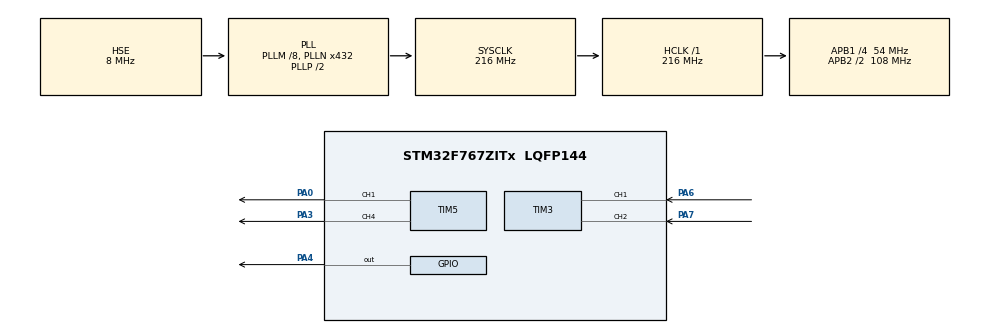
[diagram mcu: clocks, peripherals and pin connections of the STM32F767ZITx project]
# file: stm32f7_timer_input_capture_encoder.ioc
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Dma.Request0=TIM5_CH1
Dma.Request1=TIM5_CH4/TRIG
Dma.TIM5_CH1.0.Direction=DMA_MEMORY_TO_PERIPH
Dma.TIM5_CH1.0.FIFOMode=DMA_FIFOMODE_ENABLE
Dma.TIM5_CH1.0.FIFOThreshold=DMA_FIFO_THRESHOLD_FULL
Dma.TIM5_CH1.0.Instance=DMA1_Stream2
Dma.TIM5_CH1.0.MemBurst=DMA_MBURST_SINGLE
Dma.TIM5_CH1.0.MemDataAlignment=DMA_MDATAALIGN_WORD
Dma.TIM5_CH1.0.MemInc=DMA_MINC_ENABLE
Dma.TIM5_CH1.0.Mode=DMA_CIRCULAR
Dma.TIM5_CH1.0.PeriphBurst=DMA_PBURST_SINGLE
Dma.TIM5_CH1.0.PeriphDataAlignment=DMA_PDATAALIGN_WORD
Dma.TIM5_CH1.0.PeriphInc=DMA_PINC_DISABLE
Dma.TIM5_CH1.0.Priority=DMA_PRIORITY_MEDIUM
Dma.TIM5_CH4/TRIG.1.Direction=DMA_MEMORY_TO_PERIPH
Dma.TIM5_CH4/TRIG.1.FIFOMode=DMA_FIFOMODE_ENABLE
Dma.TIM5_CH4/TRIG.1.FIFOThreshold=DMA_FIFO_THRESHOLD_FULL
Dma.TIM5_CH4/TRIG.1.Instance=DMA1_Stream1
Dma.TIM5_CH4/TRIG.1.MemBurst=DMA_MBURST_SINGLE
Dma.TIM5_CH4/TRIG.1.MemDataAlignment=DMA_MDATAALIGN_WORD
Dma.TIM5_CH4/TRIG.1.MemInc=DMA_MINC_ENABLE
Dma.TIM5_CH4/TRIG.1.Mode=DMA_CIRCULAR
Dma.TIM5_CH4/TRIG.1.PeriphBurst=DMA_PBURST_SINGLE
Dma.TIM5_CH4/TRIG.1.PeriphDataAlignment=DMA_PDATAALIGN_WORD
Dma.TIM5_CH4/TRIG.1.PeriphInc=DMA_PINC_DISABLE
Dma.TIM5_CH4/TRIG.1.Priority=DMA_PRIORITY_MEDIUM
Mcu.Family=STM32F7
Mcu.Name=STM32F767ZITx
Mcu.Package=LQFP144
NVIC.DMA1_Stream1_IRQn=true\:0\:0\:false\:false\:true\:false\:true\:true
NVIC.DMA1_Stream2_IRQn=true\:0\:0\:false\:false\:true\:false\:true\:true
NVIC.PriorityGroup=NVIC_PRIORITYGROUP_4
NVIC.TIM6_DAC_IRQn=true\:0\:0\:false\:false\:true\:true\:true\:true
PA0/WKUP.Signal=S_TIM5_CH1
PA3.Signal=S_TIM5_CH4
PA4.Signal=GPIO_Output
PA6.Signal=S_TIM3_CH1
PA7.Signal=S_TIM3_CH2
PH0/OSC_IN.Mode=HSE-External-Clock-Source
PH0/OSC_IN.Signal=RCC_OSC_IN
PH1/OSC_OUT.Mode=HSE-External-Clock-Source
PH1/OSC_OUT.Signal=RCC_OSC_OUT
ProjectManager.HeapSize=0x200
ProjectManager.StackSize=0x400
ProjectManager.TargetToolchain=Makefile
RCC.48MHZClocksFreq_Value=24000000
RCC.AHBFreq_Value=216000000
RCC.APB1CLKDivider=RCC_HCLK_DIV4
RCC.APB1Freq_Value=54000000
RCC.APB1TimFreq_Value=108000000
RCC.APB2CLKDivider=RCC_HCLK_DIV2
RCC.APB2Freq_Value=108000000
RCC.APB2TimFreq_Value=216000000
RCC.CortexFreq_Value=216000000
RCC.HCLKFreq_Value=216000000
RCC.HSE_VALUE=8000000
RCC.HSI_VALUE=16000000
RCC.LSE_VALUE=32768
RCC.PLLM=8
RCC.PLLMUL=RCC_PLL_MUL9
RCC.PLLN=432
RCC.PLLSourceVirtual=RCC_PLLSOURCE_HSE
RCC.PRESCALERUSB=RCC_USBCLKSOURCE_PLL_DIV1_5
RCC.SYSCLKFreq_VALUE=216000000
RCC.SYSCLKSource=RCC_SYSCLKSOURCE_PLLCLK
RCC.SYSCLKSourceVirtual=RCC_SYSCLKSOURCE_PLLCLK
RCC.USBFreq_Value=216000000
RCC.VCOOutputFreq_Value=432000000
SH.S_TIM3_CH1.0=TIM3_CH1,Encoder_Interface
SH.S_TIM3_CH2.0=TIM3_CH2,Encoder_Interface
SH.S_TIM5_CH1.0=TIM5_CH1,Output Compare1 CH1
SH.S_TIM5_CH4.0=TIM5_CH4,Output Compare4 CH4
TIM3.EncoderMode=TIM_ENCODERMODE_TI1
TIM5.Channel-Output\ Compare1\ CH1=TIM_CHANNEL_1
TIM5.Channel-Output\ Compare4\ CH4=TIM_CHANNEL_4
TIM5.OCMode_1=TIM_OCMODE_TOGGLE
TIM5.OCMode_4=TIM_OCMODE_TOGGLE
TIM6.Period=2621
TIM6.Prescaler=10799
VP_TIM5_VS_ClockSourceINT.Mode=Internal
VP_TIM6_VS_ClockSourceINT.Mode=Enable_Timer
board=NUCLEO-F767ZI

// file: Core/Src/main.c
/* USER CODE BEGIN Header */
/**
 ******************************************************************************
 * @file           : main.c
 * @brief          : Main program body
 ******************************************************************************
 * @attention
 *
 * Copyright (c) 2024 STMicroelectronics.
 * All rights reserved.
 *
 * This software is licensed under terms that can be found in the LICENSE file
 * in the root directory of this software component.
 * If no LICENSE file comes with this software, it is provided AS-IS.
 *
 ******************************************************************************
 */
/* USER CODE END Header */
#include "main.h"

/* USER CODE BEGIN PD */
#define BUFFER_SIZE 32
#define APB1_CLOCK 108000000 // Running frequency of timer at APB1
#define OC_CH_FREQ 20000     // unit: Hz
#define FULL_COUNTER 65535   // used in encoder counting
#define HALF_COUNTER 32767   // used in encoder counting
#define TOTAL_PULSES 262144  // 196608  // 131072

/* USER CODE END PD */

TIM_HandleTypeDef htim3;
TIM_HandleTypeDef htim5;
TIM_HandleTypeDef htim6;
DMA_HandleTypeDef hdma_tim5_ch1;
DMA_HandleTypeDef hdma_tim5_ch4_trig;

/* USER CODE BEGIN PV */
uint32_t channelFreq = 0; // pulse increment to toggle output signal

// Double Buffer Space
uint32_t pMem0DataCh1[BUFFER_SIZE];
uint32_t pMem1DataCh1[BUFFER_SIZE];
uint32_t pMem0DataCh4[BUFFER_SIZE];
uint32_t pMem1DataCh4[BUFFER_SIZE];

volatile uint16_t prevCounter = 0;
volatile int16_t revolution = 0;
int32_t counter = 0;

volatile uint32_t pulseGenerated = 0;

/* USER CODE END PV */

void SystemClock_Config(void);
static void MX_GPIO_Init(void);
static void MX_DMA_Init(void);
static void MX_TIM3_Init(void);
static void MX_TIM5_Init(void);
static void MX_TIM6_Init(void);
/* USER CODE BEGIN PFP */
uint32_t computePulse(uint32_t freq);
void updateBuffer(uint32_t *buffer, uint16_t start_index, uint32_t start_value, uint32_t increment, size_t length);
/* USER CODE END PFP */

int main(void)
{

  /* MCU Configuration--------------------------------------------------------*/

  /* Reset of all peripherals, Initializes the Flash interface and the Systick. */
  HAL_Init();

  /* Configure the system clock */
  SystemClock_Config();

  /* Initialize all configured peripherals */
  MX_GPIO_Init();
  MX_DMA_Init();
  MX_TIM3_Init();
  MX_TIM5_Init();
  MX_TIM6_Init();
  /* USER CODE BEGIN 2 */
  channelFreq = computePulse((uint32_t)OC_CH_FREQ);
  updateBuffer(pMem0DataCh1, 0, channelFreq + channelFreq / 2, channelFreq, BUFFER_SIZE);
  updateBuffer(pMem1DataCh1, 0, pMem0DataCh1[BUFFER_SIZE - 1] + channelFreq, channelFreq, BUFFER_SIZE);
  updateBuffer(pMem0DataCh4, 0, channelFreq, channelFreq, BUFFER_SIZE);
  updateBuffer(pMem1DataCh4, 0, pMem0DataCh4[BUFFER_SIZE - 1] + channelFreq, channelFreq, BUFFER_SIZE);

  // TIM5 used to generate pulse signals at channel 1 and 4
  TIM_OC_Start_DMA_Double_Buffer(&htim5, TIM_CHANNEL_1, (uint32_t)pMem0DataCh1, (uint32_t)&htim5.Instance->CCR1, (uint32_t)pMem1DataCh1, BUFFER_SIZE);
  TIM_OC_Start_DMA_Double_Buffer(&htim5, TIM_CHANNEL_4, (uint32_t)pMem0DataCh4, (uint32_t)&htim5.Instance->CCR4, (uint32_t)pMem1DataCh4, BUFFER_SIZE);
  HAL_TIM_Base_Start_IT(&htim6); // Timer 6 in polling mode
  HAL_TIM_Encoder_Start(&htim3, TIM_CHANNEL_ALL);

  // Reset counter, CNT, as 0
  __HAL_TIM_SET_COUNTER(&htim3, 0);
  __HAL_TIM_SET_COUNTER(&htim5, 0);
  __HAL_TIM_SET_COUNTER(&htim6, 0);

  /* USER CODE END 2 */

  /* Infinite loop */
  while (1)
  {

  }
}

void SystemClock_Config(void)
{
  RCC_OscInitTypeDef RCC_OscInitStruct = {0};
  RCC_ClkInitTypeDef RCC_ClkInitStruct = {0};

  /** Configure the main internal regulator output voltage
   */
  __HAL_RCC_PWR_CLK_ENABLE();
  __HAL_PWR_VOLTAGESCALING_CONFIG(PWR_REGULATOR_VOLTAGE_SCALE1);

  /** Initializes the RCC Oscillators according to the specified parameters
   * in the RCC_OscInitTypeDef structure.
   */
  RCC_OscInitStruct.OscillatorType = RCC_OSCILLATORTYPE_HSE;
  RCC_OscInitStruct.HSEState = RCC_HSE_BYPASS;
  RCC_OscInitStruct.PLL.PLLState = RCC_PLL_ON;
  RCC_OscInitStruct.PLL.PLLSource = RCC_PLLSOURCE_HSE;
  RCC_OscInitStruct.PLL.PLLM = 8;
  RCC_OscInitStruct.PLL.PLLN = 432;
  RCC_OscInitStruct.PLL.PLLP = RCC_PLLP_DIV2;
  RCC_OscInitStruct.PLL.PLLQ = 2;
  RCC_OscInitStruct.PLL.PLLR = 2;
  if (HAL_RCC_OscConfig(&RCC_OscInitStruct) != HAL_OK)
  {
    Error_Handler();
  }

  /** Activate the Over-Drive mode
   */
  if (HAL_PWREx_EnableOverDrive() != HAL_OK)
  {
    Error_Handler();
  }

  /** Initializes the CPU, AHB and APB buses clocks
   */
  RCC_ClkInitStruct.ClockType = RCC_CLOCKTYPE_HCLK | RCC_CLOCKTYPE_SYSCLK | RCC_CLOCKTYPE_PCLK1 | RCC_CLOCKTYPE_PCLK2;
  RCC_ClkInitStruct.SYSCLKSource = RCC_SYSCLKSOURCE_PLLCLK;
  RCC_ClkInitStruct.AHBCLKDivider = RCC_SYSCLK_DIV1;
  RCC_ClkInitStruct.APB1CLKDivider = RCC_HCLK_DIV4;
  RCC_ClkInitStruct.APB2CLKDivider = RCC_HCLK_DIV2;

  if (HAL_RCC_ClockConfig(&RCC_ClkInitStruct, FLASH_LATENCY_7) != HAL_OK)
  {
    Error_Handler();
  }
}

static void MX_TIM3_Init(void)
{

  TIM_Encoder_InitTypeDef sConfig = {0};
  TIM_MasterConfigTypeDef sMasterConfig = {0};

  htim3.Instance = TIM3;
  htim3.Init.Prescaler = 0;
  htim3.Init.CounterMode = TIM_COUNTERMODE_UP;
  htim3.Init.Period = 65535;
  htim3.Init.ClockDivision = TIM_CLOCKDIVISION_DIV1;
  htim3.Init.AutoReloadPreload = TIM_AUTORELOAD_PRELOAD_DISABLE;
  sConfig.EncoderMode = TIM_ENCODERMODE_TI1;
  sConfig.IC1Polarity = TIM_ICPOLARITY_RISING;
  sConfig.IC1Selection = TIM_ICSELECTION_DIRECTTI;
  sConfig.IC1Prescaler = TIM_ICPSC_DIV1;
  sConfig.IC1Filter = 0;
  sConfig.IC2Polarity = TIM_ICPOLARITY_RISING;
  sConfig.IC2Selection = TIM_ICSELECTION_DIRECTTI;
  sConfig.IC2Prescaler = TIM_ICPSC_DIV1;
  sConfig.IC2Filter = 0;
  if (HAL_TIM_Encoder_Init(&htim3, &sConfig) != HAL_OK)
  {
    Error_Handler();
  }
  sMasterConfig.MasterOutputTrigger = TIM_TRGO_RESET;
  sMasterConfig.MasterSlaveMode = TIM_MASTERSLAVEMODE_DISABLE;
  if (HAL_TIMEx_MasterConfigSynchronization(&htim3, &sMasterConfig) != HAL_OK)
  {
    Error_Handler();
  }
}

static void MX_TIM5_Init(void)
{

  TIM_ClockConfigTypeDef sClockSourceConfig = {0};
  TIM_MasterConfigTypeDef sMasterConfig = {0};
  TIM_OC_InitTypeDef sConfigOC = {0};

  htim5.Instance = TIM5;
  htim5.Init.Prescaler = 0;
  htim5.Init.CounterMode = TIM_COUNTERMODE_UP;
  htim5.Init.Period = 4294967295;
  htim5.Init.ClockDivision = TIM_CLOCKDIVISION_DIV1;
  htim5.Init.AutoReloadPreload = TIM_AUTORELOAD_PRELOAD_DISABLE;
  if (HAL_TIM_Base_Init(&htim5) != HAL_OK)
  {
    Error_Handler();
  }
  sClockSourceConfig.ClockSource = TIM_CLOCKSOURCE_INTERNAL;
  if (HAL_TIM_ConfigClockSource(&htim5, &sClockSourceConfig) != HAL_OK)
  {
    Error_Handler();
  }
  if (HAL_TIM_OC_Init(&htim5) != HAL_OK)
  {
    Error_Handler();
  }
  sMasterConfig.MasterOutputTrigger = TIM_TRGO_RESET;
  sMasterConfig.MasterSlaveMode = TIM_MASTERSLAVEMODE_DISABLE;
  if (HAL_TIMEx_MasterConfigSynchronization(&htim5, &sMasterConfig) != HAL_OK)
  {
    Error_Handler();
  }
  sConfigOC.OCMode = TIM_OCMODE_TOGGLE;
  sConfigOC.Pulse = 0;
  sConfigOC.OCPolarity = TIM_OCPOLARITY_HIGH;
  sConfigOC.OCFastMode = TIM_OCFAST_DISABLE;
  if (HAL_TIM_OC_ConfigChannel(&htim5, &sConfigOC, TIM_CHANNEL_1) != HAL_OK)
  {
    Error_Handler();
  }
  if (HAL_TIM_OC_ConfigChannel(&htim5, &sConfigOC, TIM_CHANNEL_4) != HAL_OK)
  {
    Error_Handler();
  }
  HAL_TIM_MspPostInit(&htim5);
}

static void MX_TIM6_Init(void)
{

  TIM_MasterConfigTypeDef sMasterConfig = {0};

  htim6.Instance = TIM6;
  htim6.Init.Prescaler = 10799;
  htim6.Init.CounterMode = TIM_COUNTERMODE_UP;
  htim6.Init.Period = 2621;
  htim6.Init.AutoReloadPreload = TIM_AUTORELOAD_PRELOAD_DISABLE;
  if (HAL_TIM_Base_Init(&htim6) != HAL_OK)
  {
    Error_Handler();
  }
  sMasterConfig.MasterOutputTrigger = TIM_TRGO_RESET;
  sMasterConfig.MasterSlaveMode = TIM_MASTERSLAVEMODE_DISABLE;
  if (HAL_TIMEx_MasterConfigSynchronization(&htim6, &sMasterConfig) != HAL_OK)
  {
    Error_Handler();
  }
}

static void MX_DMA_Init(void)
{

  /* DMA controller clock enable */
  __HAL_RCC_DMA1_CLK_ENABLE();

  /* DMA interrupt init */
  /* DMA1_Stream1_IRQn interrupt configuration */
  HAL_NVIC_SetPriority(DMA1_Stream1_IRQn, 0, 0);
  HAL_NVIC_EnableIRQ(DMA1_Stream1_IRQn);
  /* DMA1_Stream2_IRQn interrupt configuration */
  HAL_NVIC_SetPriority(DMA1_Stream2_IRQn, 0, 0);
  HAL_NVIC_EnableIRQ(DMA1_Stream2_IRQn);
}

static void MX_GPIO_Init(void)
{
  GPIO_InitTypeDef GPIO_InitStruct = {0};

  /* GPIO Ports Clock Enable */
  __HAL_RCC_GPIOH_CLK_ENABLE();
  __HAL_RCC_GPIOA_CLK_ENABLE();

  /*Configure GPIO pin Output Level */
  HAL_GPIO_WritePin(GPIOA, GPIO_PIN_4, GPIO_PIN_RESET);

  /*Configure GPIO pin : PA4 */
  GPIO_InitStruct.Pin = GPIO_PIN_4;
  GPIO_InitStruct.Mode = GPIO_MODE_OUTPUT_PP;
  GPIO_InitStruct.Pull = GPIO_NOPULL;
  GPIO_InitStruct.Speed = GPIO_SPEED_FREQ_LOW;
  HAL_GPIO_Init(GPIOA, &GPIO_InitStruct);

}

/* USER CODE BEGIN 4 */
uint32_t computePulse(uint32_t freq)
{
  return APB1_CLOCK / (freq * 2);
}

void updateBuffer(uint32_t *buffer, uint16_t start_index, uint32_t start_value, uint32_t increment, size_t length)
{
  for (uint16_t i = start_index; i < start_index + length; i++)
  {
    buffer[i] = start_value + increment * (i - start_index);
  }
}

/**
 * @brief interrupt callback as DMA M0 buffer is completely transfered.
 */
void PingPongM0TransferCompleteCallback(TIM_HandleTypeDef *htim)
{
  if (pulseGenerated >= TOTAL_PULSES)
  {
    TIM_CCxChannelCmd(htim->Instance, htim->Channel, TIM_CCx_DISABLE);
    if (IS_TIM_BREAK_INSTANCE(htim->Instance) != RESET)
    {
      /* Disable the Main Output */
      __HAL_TIM_MOE_DISABLE(htim);
    }
    __HAL_TIM_DISABLE(htim);
    return;
  }

  // current memory buffer in used is memory 1
  if (htim->Channel == HAL_TIM_ACTIVE_CHANNEL_1)
  {
    pulseGenerated += 16;
    if (pulseGenerated >= TOTAL_PULSES)
      return;
    updateBuffer(pMem0DataCh1, 0, pMem1DataCh1[BUFFER_SIZE - 1] + channelFreq, channelFreq, BUFFER_SIZE);
  }
  else if (htim->Channel == HAL_TIM_ACTIVE_CHANNEL_4)
  {
    updateBuffer(pMem0DataCh4, 0, pMem1DataCh4[BUFFER_SIZE - 1] + channelFreq, channelFreq, BUFFER_SIZE);
  }
}

/**
 * @brief interrupt callback as DMA M1 buffer is completely transfered.
 */
void PingPongM1TransferCompleteCallback(TIM_HandleTypeDef *htim)
{
  if (pulseGenerated >= TOTAL_PULSES)
  {
    TIM_CCxChannelCmd(htim->Instance, htim->Channel, TIM_CCx_DISABLE);
    if (IS_TIM_BREAK_INSTANCE(htim->Instance) != RESET)
    {
      /* Disable the Main Output */
      __HAL_TIM_MOE_DISABLE(htim);
    }
    __HAL_TIM_DISABLE(htim);
    return;
  }

  // current memory buffer in used is memory 0
  if (htim->Channel == HAL_TIM_ACTIVE_CHANNEL_1)
  {
    pulseGenerated += 16;
    if (pulseGenerated >= TOTAL_PULSES)
      return;
    updateBuffer(pMem1DataCh1, 0, pMem0DataCh1[BUFFER_SIZE - 1] + channelFreq, channelFreq, BUFFER_SIZE);
  }
  else if (htim->Channel == HAL_TIM_ACTIVE_CHANNEL_4)
  {
    updateBuffer(pMem1DataCh4, 0, pMem0DataCh4[BUFFER_SIZE - 1] + channelFreq, channelFreq, BUFFER_SIZE);
  }
}

void HAL_TIM_PeriodElapsedCallback(TIM_HandleTypeDef *htim)
{
  if (htim == &htim6)
  {
    // Toggle output pin to verify the time period is correct
    // tracking with logic analyzer.
    HAL_GPIO_TogglePin(GPIOA, GPIO_PIN_4);

    uint16_t currentCounter = __HAL_TIM_GET_COUNTER(&htim3);

    // Detect Overflow / Underflow event to Increase / Decrease revolution counter
    int32_t diff = currentCounter - prevCounter;

    if (diff < 0)
    {
      // overflow occurred
      if (-diff > HALF_COUNTER)
        revolution++;
    }
    else
    {
      // underflow occurred
      if (diff > HALF_COUNTER)
        revolution--;
    }

    counter = (revolution << 16) + currentCounter;
    prevCounter = currentCounter;
  }
}
/* USER CODE END 4 */

void Error_Handler(void)
{
  __disable_irq();
  while (1)
  {
  }
}
